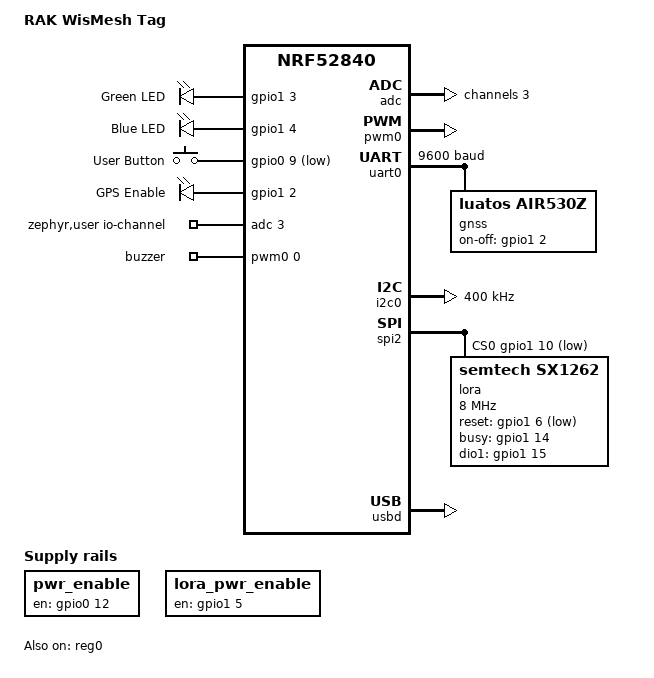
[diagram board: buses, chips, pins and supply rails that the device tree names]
/*
 * RAK WisMesh Tag — nRF52840 + SX1262 (card-sized GPS tracker)
 * Copyright (c) 2025 ZephCore
 *
 * SPDX-License-Identifier: Apache-2.0
 *
 * Hardware:
 * - nRF52840 SoC with BLE 5
 * - SX1262 LoRa radio (DIO2 as RF switch, TCXO 1.8V via DIO3)
 * - AT6558R GNSS on UART0 at 9600 baud
 * - LIS2DH 3-axis accelerometer on I2C0
 * - 1000 mAh battery with ADC on AIN3 (P0.05)
 * - Buzzer on PWM0 (P0.21)
 * - LEDs: GREEN=P1.03 (TX, active HIGH), BLUE=P1.04 (status, active HIGH)
 * - User button on P0.09 (NFC1, active LOW)
 * - Board power enable on P0.12
 * - No display, no QSPI flash
 * - IP66 sealed, pogo-pin USB interface
 *
 * Pin mappings (from Arduino MeshCore variant.h):
 * - LoRa SPI: SCK=P1.11, MOSI=P1.12, MISO=P1.13, CS=P1.10
 * - LoRa ctl: DIO1=P1.15, BUSY=P1.14, RESET=P1.06, PWR_EN=P1.05
 * - I2C:      SDA=P0.25, SCL=P0.24
 * - GPS:      TX=P0.16, RX=P0.15, EN=P1.02, PPS=P0.17
 */

/dts-v1/;
#include <nordic/nrf52840_qiaa.dtsi>
#include "rak_wismesh_tag-pinctrl.dtsi"
#include <zephyr/dt-bindings/lora/sx126x.h>
#include <zephyr/dt-bindings/adc/nrf-saadc.h>
#include <zephyr/dt-bindings/input/input-event-codes.h>
#include <zephyr/dt-bindings/pwm/pwm.h>

/ {
	model = "RAK WisMesh Tag";
	compatible = "rak,wismesh-tag";

	chosen {
		zephyr,sram = &sram0;
		zephyr,flash = &flash0;
		zephyr,code-partition = &code_partition;
		zephyr,console = &cdc_acm_uart;
		zephyr,shell-uart = &cdc_acm_uart;
	};

	aliases {
		lora0 = &lora;
		led0 = &led_green;
		led1 = &led_blue;
		lora-tx-led = &led_green;
		sw0 = &user_button;
		watchdog0 = &wdt0;
		buzzer = &buzzer;
		gps-enable = &gps_enable_pin;
	};

	/* ---- LEDs (active HIGH per Arduino LED_STATE_ON=HIGH) ---- */
	leds {
		compatible = "gpio-leds";

		led_green: led_0 {
			gpios = <&gpio1 3 GPIO_ACTIVE_HIGH>;
			label = "Green LED";
		};

		led_blue: led_1 {
			gpios = <&gpio1 4 GPIO_ACTIVE_HIGH>;
			label = "Blue LED";
		};
	};

	/* ---- Button (P0.09/NFC1, active LOW with pull-up) ---- */
	buttons: buttons {
		compatible = "gpio-keys";

		user_button: button_0 {
			gpios = <&gpio0 9 (GPIO_PULL_UP | GPIO_ACTIVE_LOW)>;
			zephyr,code = <INPUT_KEY_0>;
			label = "User Button";
		};
	};

	/* Input filter: long-press (1000ms) */
	user_btn_longpress {
		compatible = "zephyr,input-longpress";
		input = <&buttons>;
		input-codes = <INPUT_KEY_0>;
		short-codes = <INPUT_KEY_A>;
		long-codes = <INPUT_KEY_POWER>;
		long-delay-ms = <1000>;
	};

	/* Input filter: multi-tap
	 * 1 tap  → KEY_1 = (reserved / next page if display added)
	 * 2 taps → KEY_B = flood advert
	 * 3 taps → KEY_D = buzzer mute toggle
	 * 4 taps → KEY_C = GPS on/off
	 * 5 taps → KEY_E = LED heartbeat toggle */
	user_btn_multitap {
		compatible = "zephcore,input-multi-tap";
		input-codes = <INPUT_KEY_A>;
		tap-codes = <INPUT_KEY_1 INPUT_KEY_B INPUT_KEY_D INPUT_KEY_C INPUT_KEY_E>;
		tap-delay-ms = <400>;
	};

	/* ---- Power control ---- */

	/* Board power enable — must be HIGH for peripherals */
	pwr_enable: pwr-enable {
		compatible = "regulator-fixed";
		regulator-name = "pwr-enable";
		enable-gpios = <&gpio0 12 GPIO_ACTIVE_HIGH>;
		regulator-boot-on;
	};

	/* LoRa radio power enable — must be HIGH before SX1262 can communicate */
	lora_pwr_enable: lora-pwr-enable {
		compatible = "regulator-fixed";
		regulator-name = "lora-pwr-enable";
		enable-gpios = <&gpio1 5 GPIO_ACTIVE_HIGH>;
		regulator-boot-on;
		startup-delay-us = <10000>;
	};

	/* GPS power control */
	gps_en: gps-enable {
		compatible = "gpio-leds";
		gps_enable_pin: gps_enable {
			gpios = <&gpio1 2 GPIO_ACTIVE_HIGH>;
			label = "GPS Enable";
		};
	};

	/* ---- Battery ADC ---- */
	/* P0.05 (AIN3), same divider circuit as RAK4631
	 * Arduino ADC_MULTIPLIER = (3 * 1.73 * 1.187 * 1000) ≈ 6161,
	 * applied to 12-bit average with default ref (GAIN_1_6 + 0.6V internal = 3.6V FS). */
	zephyr,user {
		io-channels = <&adc 3>;
		vbat-mv-multiplier = <6161>;
	};

	/* ---- Buzzer on PWM0 ---- */
	pwmbuzzer {
		compatible = "pwm-leds";
		buzzer: buzzer {
			pwms = <&pwm0 0 PWM_MSEC(20) PWM_POLARITY_NORMAL>;
		};
	};
};

/* ---- SoC configuration ---- */

&reg0 {
	status = "okay";
};

&reg1 {
	regulator-initial-mode = <NRF5X_REG_MODE_DCDC>;
};

&adc {
	status = "okay";
	#address-cells = <1>;
	#size-cells = <0>;

	/* Battery voltage on P0.05 (AIN3) */
	channel@3 {
		reg = <3>;
		zephyr,gain = "ADC_GAIN_1_6";
		zephyr,reference = "ADC_REF_INTERNAL";
		zephyr,acquisition-time = <ADC_ACQ_TIME(ADC_ACQ_TIME_MICROSECONDS, 10)>;
		zephyr,input-positive = <NRF_SAADC_AIN3>;
		zephyr,resolution = <12>;
	};
};

&uicr {
	nfct-pins-as-gpios;
};

&gpiote {
	status = "okay";
};

&gpio0 {
	status = "okay";
};

&gpio1 {
	status = "okay";
};

/* ---- PWM0 for buzzer ---- */
&pwm0 {
	status = "okay";
	pinctrl-0 = <&pwm0_default>;
	pinctrl-1 = <&pwm0_sleep>;
	pinctrl-names = "default", "sleep";
};

/* ---- GPS on UART0 (AT6558R, 9600 baud) ----
 * Uses luatos,air530z driver for NMEA with power control.
 * GPS power controlled via on-off-gpios (P1.02 = GPS_EN). */
&uart0 {
	compatible = "nordic,nrf-uarte";
	status = "okay";
	current-speed = <9600>;
	pinctrl-0 = <&uart0_default>;
	pinctrl-1 = <&uart0_sleep>;
	pinctrl-names = "default", "sleep";

	gnss: gnss {
		compatible = "luatos,air530z";
		on-off-gpios = <&gpio1 2 GPIO_ACTIVE_HIGH>;
	};
};

/* ---- I2C0 for sensors ---- */
&i2c0 {
	compatible = "nordic,nrf-twim";
	status = "okay";
	clock-frequency = <I2C_BITRATE_FAST>;
	pinctrl-0 = <&i2c0_default>;
	pinctrl-1 = <&i2c0_sleep>;
	pinctrl-names = "default", "sleep";

	/* All supported environment & power sensors — auto-detected at runtime */
	#include "../../common/sensors-i2c.dtsi"
};

/* ---- SPI2 for LoRa SX1262 ---- */
&spi2 {
	compatible = "nordic,nrf-spim";
	status = "okay";
	pinctrl-0 = <&spi2_default>;
	pinctrl-1 = <&spi2_sleep>;
	pinctrl-names = "default", "sleep";
	cs-gpios = <&gpio1 10 GPIO_ACTIVE_LOW>;   /* P1.10 (Arduino 42) LORA_CS */

	lora: lora@0 {
		compatible = "semtech,sx1262";
		reg = <0>;
		spi-max-frequency = <8000000>;

		/* LoRa control pins */
		reset-gpios = <&gpio1 6 GPIO_ACTIVE_LOW>;    /* P1.06 (Arduino 38) */
		busy-gpios = <&gpio1 14 GPIO_ACTIVE_HIGH>;   /* P1.14 (Arduino 46) */
		dio1-gpios = <&gpio1 15 (GPIO_PULL_DOWN | GPIO_ACTIVE_HIGH)>;  /* P1.15 (Arduino 47) */

		/* DIO2 drives RF switch for TX */
		dio2-tx-enable;

		/* TCXO voltage 1.8V via DIO3 */
		dio3-tcxo-voltage = <SX126X_DIO3_TCXO_1V8>;
		tcxo-power-startup-delay-ms = <5>;

		/* RX boosted mode for better sensitivity */
		rx-boosted;
	};
};

/* ---- QSPI Flash — not present on WisMesh Tag ---- */
&qspi {
	status = "disabled";
};

/* ---- USB CDC for console/CLI ---- */
zephyr_udc0: &usbd {
	compatible = "nordic,nrf-usbd";
	status = "okay";

	cdc_acm_uart: cdc_acm_uart {
		compatible = "zephyr,cdc-acm-uart";
	};
};

/* ---- Flash partitions (SoftDevice v6, app@0x26000) ---- */
#include "../../common/nrf52_partitions_sdv6.dtsi"
#include "../../common/nrf52_wakeup.dtsi"
